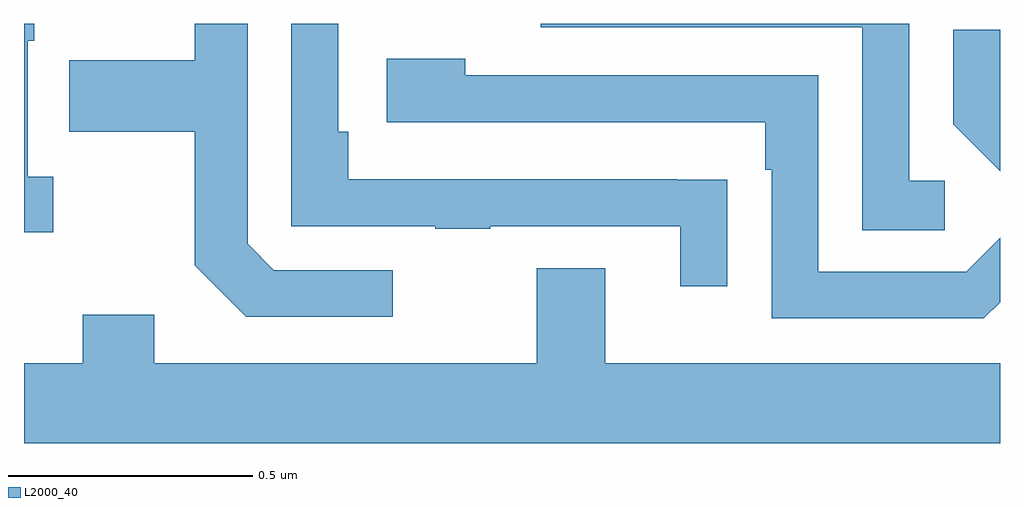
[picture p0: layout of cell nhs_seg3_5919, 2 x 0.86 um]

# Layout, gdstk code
import gdstk
lib = gdstk.Library(unit=1e-6, precision=1e-09)
def P(c, l, *ps):  # polygons
    for p in ps: c.add(gdstk.Polygon(p, *l))
L2000_40 = (2000, 40)

nhs_seg3_5919 = lib.new_cell('nhs_seg3_5919')
P(nhs_seg3_5919, L2000_40, [(185.441,744.08),(185.339,744.08),(185.339,744.081),(184.664,744.081),(184.664,744.178),(184.644,744.178),(184.644,744.4),(184.548,744.4),(184.548,743.985),(184.843,743.985),(184.843,743.98),(184.955,743.98),(184.955,743.985),(185.345,743.985),(185.345,743.862),(185.441,743.862)],
  [(184.06,744.086),(184.008,744.086),(184.008,744.365),(184.021,744.365),(184.021,744.4),(184,744.4),(184,743.973),(184.06,743.973)],
  [(184.756,743.895),(184.512,743.895),(184.458,743.949),(184.458,744.4),(184.35,744.4),(184.35,744.325),(184.093,744.325),(184.093,744.178),(184.35,744.178),(184.35,743.905),(184.455,743.799),(184.756,743.799)],
  [(185.887,744.078),(185.814,744.078),(185.814,744.4),(185.059,744.4),(185.059,744.393),(185.718,744.393),(185.718,743.977),(185.887,743.977)],
  [(186,744.388),(185.904,744.388),(185.904,744.194),(186,744.098)],
  [(186,743.829),(186,743.961),(185.931,743.892),(185.628,743.892),(185.628,744.294),(184.904,744.294),(184.904,744.328),(184.743,744.328),(184.743,744.198),(185.519,744.198),(185.519,744.101),(185.532,744.101),(185.532,743.796),(185.967,743.796)],
  [(186,743.704),(185.191,743.704),(185.191,743.899),(185.051,743.899),(185.051,743.704),(184.267,743.704),(184.267,743.803),(184.12,743.803),(184.12,743.704),(184,743.704),(184,743.54),(186,743.54)])

lib.write_gds('nhs_seg3_5919.gds')
